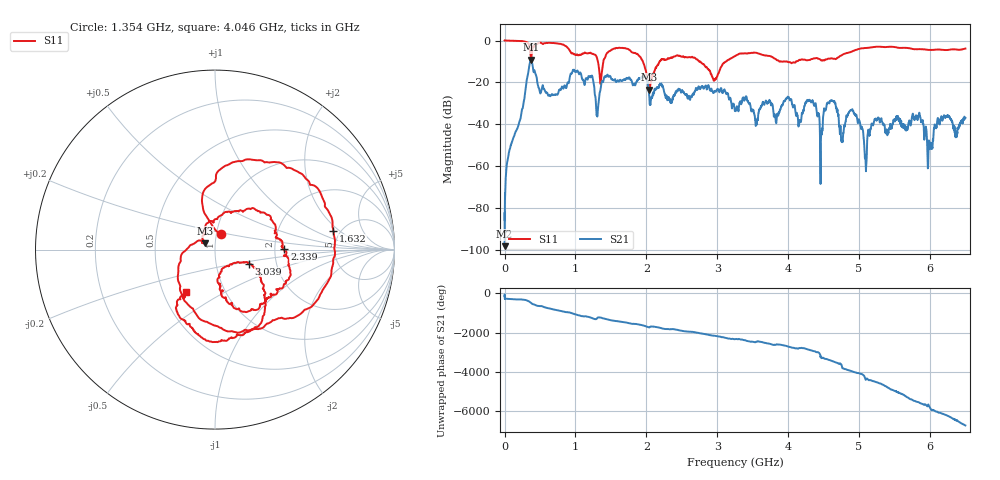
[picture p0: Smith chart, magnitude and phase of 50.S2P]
!Keysight Technologies,E5063A,MY54503115,A.05.08
!Date: Mon Dec 11 14:19:56 2023
!Data & Calibration Information:
!Freq	S11:NONE(--)	S21:NONE(--)	S12:NONE(--)	S22:NONE(--)
# Hz S dB R 50
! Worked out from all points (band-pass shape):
!   10001 points, 100 kHz to 6.5 GHz, reference 50 ohm
!   highest |S21| = -9.06 dB at 373.2 MHz (marker M1); lowest = -98.3 dB at 100 kHz (marker M2)
!   |S21| within 3 dB of the highest: 347.7 MHz to 395.3 MHz (47.57 MHz wide, 12.8 % of centre)
!   lowest |S11| = -23.4 dB at 2.042 GHz (marker M3), VSWR 1.14, Z = 44.5 + j3.2 ohm
!   |S11| at or under -10 dB: 1.95 GHz to 2.183 GHz (233 MHz wide, 11.3 % of centre); 2.759 GHz to 3.125 GHz (366 MHz wide, 12.4 % of centre); 3.979 GHz to 4.111 GHz (132.2 MHz wide, 3.27 % of centre) (the widest 3 of 10)
!   S12 and S22 are empty: the file has one direction only
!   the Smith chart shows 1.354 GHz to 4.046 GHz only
!   S11 on the Smith chart (normalised r, x): 1.354 GHz: 1.06, +0.18; 1.632 GHz: 4.37, +1.64; 2.339 GHz: 2.26, +0.01; 3.039 GHz: 1.44, -0.24; 4.046 GHz: 0.65, -0.34
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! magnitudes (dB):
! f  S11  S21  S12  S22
! 100 kHz  0.0  -98.3  -  -
! 373.2 MHz  -8.2  -9.1  -  -
! 634.5 MHz  -1.1  -26.2  -  -
! 1.084 GHz  -6.7  -16.9  -  -
! 1.354 GHz  -20.7  -22.9  -  -
! 1.632 GHz  -3.5  -18.7  -  -
! 2.042 GHz  -23.4  -27.4  -  -
! 2.167 GHz  -11.4  -22.7  -  -
! 2.339 GHz  -8.3  -29.4  -  -
! 3.039 GHz  -13.8  -23.8  -  -
! 3.25 GHz  -7.4  -33.4  -  -
! 4.046 GHz  -10.8  -28.4  -  -
! 4.334 GHz  -8.8  -29.0  -  -
! 4.464 GHz  -9.5  -44.7  -  -
! 4.577 GHz  -8.7  -29.8  -  -
! 4.753 GHz  -7.0  -48.1  -  -
! 4.91 GHz  -5.1  -33.6  -  -
! 5.09 GHz  -3.5  -56.0  -  -
! 5.417 GHz  -3.0  -43.5  -  -
! 5.834 GHz  -4.1  -36.0  -  -
! 5.994 GHz  -4.5  -50.3  -  -
! 6.5 GHz  -3.8  -36.9  -  -
